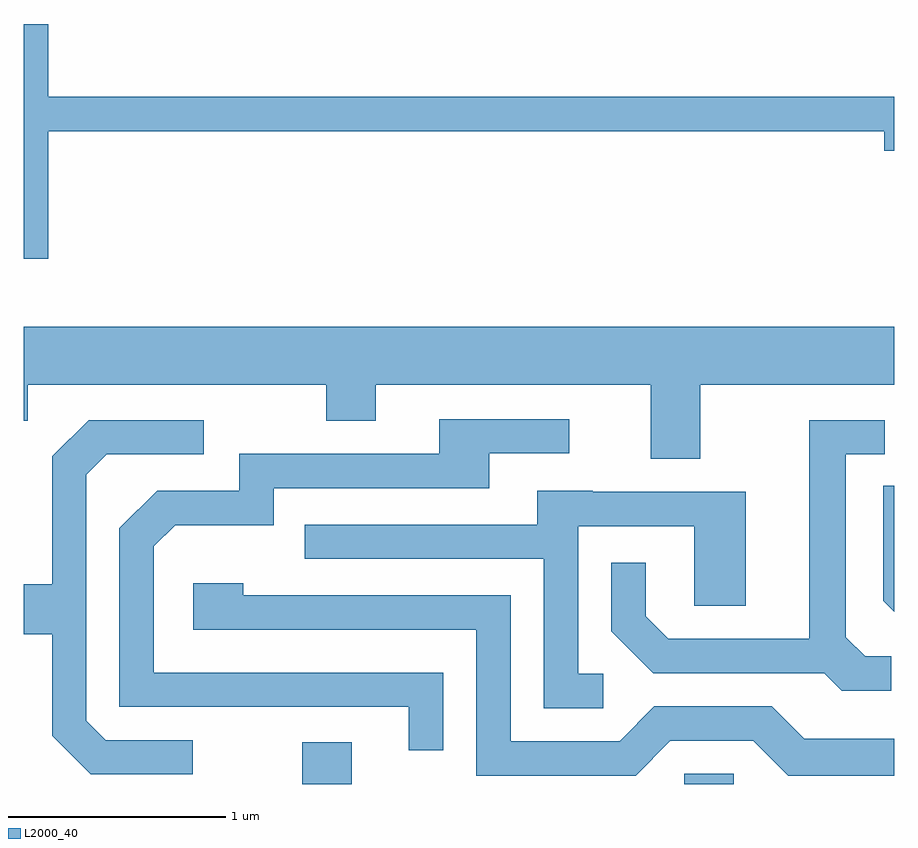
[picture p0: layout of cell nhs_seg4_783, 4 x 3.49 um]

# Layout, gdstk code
import gdstk
lib = gdstk.Library(unit=1e-6, precision=1e-09)
def R(c, l, rs):  # rectangles x0, y0, x1, y1
    for r in rs: c.add(gdstk.rectangle(r[:2], r[2:], *l))
def P(c, l, *ps):  # polygons
    for p in ps: c.add(gdstk.Polygon(p, *l))
L2000_40 = (2000, 40)

nhs_seg4_783 = lib.new_cell('nhs_seg4_783')
R(nhs_seg4_783, L2000_40, [(208.891,1323.982,209.119,1324.174), (210.646,1323.982,210.874,1324.029)])
P(nhs_seg4_783, L2000_40, [(207.724,1326.981),(211.566,1326.981),(211.566,1326.891),(211.611,1326.891),(211.611,1327.139),(207.724,1327.139),(207.724,1327.474),(207.611,1327.474),(207.611,1326.396),(207.724,1326.396)],
  [(210.719,1325.816),(211.611,1325.816),(211.611,1326.084),(207.611,1326.084),(207.611,1325.651),(207.629,1325.651),(207.629,1325.816),(209.001,1325.816),(209.001,1325.651),(209.229,1325.651),(209.229,1325.816),(210.491,1325.816),(210.491,1325.476),(210.719,1325.476)],
  [(209.539,1324.494),(208.209,1324.494),(208.209,1325.074),(208.307,1325.171),(208.759,1325.171),(208.759,1325.341),(209.749,1325.341),(209.749,1325.501),(210.118,1325.501),(210.118,1325.659),(209.521,1325.659),(209.521,1325.499),(208.601,1325.499),(208.601,1325.329),(208.224,1325.329),(208.051,1325.157),(208.051,1324.336),(209.381,1324.336),(209.381,1324.138),(209.539,1324.138)],
  [(208.388,1324.184),(207.987,1324.184),(207.899,1324.272),(207.899,1325.404),(207.992,1325.496),(208.438,1325.496),(208.438,1325.654),(207.909,1325.654),(207.741,1325.487),(207.741,1324.899),(207.611,1324.899),(207.611,1324.671),(207.741,1324.671),(207.741,1324.204),(207.919,1324.026),(208.388,1324.026)],
  [(211.598,1324.569),(211.477,1324.569),(211.389,1324.657),(211.389,1325.496),(211.568,1325.496),(211.568,1325.654),(211.221,1325.654),(211.221,1324.649),(210.572,1324.649),(210.469,1324.752),(210.469,1324.998),(210.311,1324.998),(210.311,1324.684),(210.504,1324.491),(211.289,1324.491),(211.369,1324.411),(211.598,1324.411)],
  [(211.611,1325.353),(211.561,1325.353),(211.561,1324.824),(211.611,1324.774)],
  [(210.273,1324.489),(210.159,1324.489),(210.159,1325.166),(210.691,1325.166),(210.691,1324.801),(210.929,1324.801),(210.929,1325.324),(210.225,1325.324),(210.225,1325.329),(209.971,1325.329),(209.971,1325.174),(208.903,1325.174),(208.903,1325.016),(210.001,1325.016),(210.001,1324.331),(210.273,1324.331)],
  [(210.582,1324.181),(210.964,1324.181),(211.124,1324.021),(211.611,1324.021),(211.611,1324.189),(211.197,1324.189),(211.047,1324.339),(210.509,1324.339),(210.349,1324.179),(209.849,1324.179),(209.849,1324.849),(208.619,1324.849),(208.619,1324.904),(208.391,1324.904),(208.391,1324.691),(209.691,1324.691),(209.691,1324.021),(210.422,1324.021)])

lib.write_gds('nhs_seg4_783.gds')
